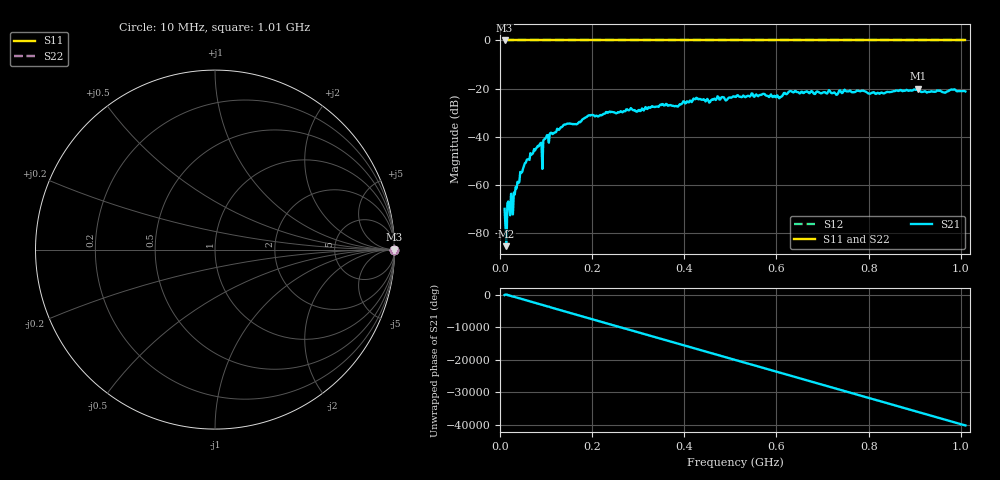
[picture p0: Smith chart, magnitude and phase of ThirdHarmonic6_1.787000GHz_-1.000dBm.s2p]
! 8/16/2025 9:36:53 PM
! C:\ANRITSUVNA\TEMP\TEMP.S2P
! CHANNEL.1
! TR.MEASUREMENT
! RAW.DATA
! RF.CORRECTION.OFF
! AVERAGING.OFF
! IF.BANDWIDTH: 5KHZ
! SWEEPTYPE:  FREQ.SWEEP(Linear)
! Reference Plane Port Info
! PORT:  PORT1  PORT2
! DISTANCE:  0  m  0  m
! TIME:  0  s  0  s
! PHASE.OFFSET:  0  deg.  0  deg.
! LOSS:  0  dB  0  dB
! REF.LOSS:  0  dB  0  dB
! REF.FREQ:  0  Hz  0  Hz
! Power Info
! POWER:  -20  dBm  -20  dBm
! EFF.POWER:  -20  dBm  -20  dBm
! SOURCE.ATTEN:  0  dB  0  dB
! TEST.ATTEN:  0  dB  0  dB
# GHZ S RI R 50.0
! FREQ.GHZ  S11RE  S11IM  S21RE  S21IM  S12RE  S12IM  S22RE  S22IM
!; PortSelection: Port_12
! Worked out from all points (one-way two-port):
!   501 points, 10 MHz to 1.01 GHz, reference 50 ohm
!   highest |S21| = -19.98 dB at 908 MHz (marker M1); lowest = -85.5 dB at 14 MHz (marker M2)
!   lowest |S11| = 0.0 dB at 10 MHz (marker M3)
!   |S11| at or under -10 dB: nowhere
!   |S22| runs from 0.0 to 0.0 dB; largest |S21 - S12| = 1.1
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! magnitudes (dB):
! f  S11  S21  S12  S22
! 10 MHz  0.0  -70.0  0.0  0.0
! 14 MHz  0.0  -85.5  0.0  0.0
! 18 MHz  0.0  -67.0  0.0  0.0
! 20 MHz  0.0  -68.7  0.0  0.0
! 24 MHz  0.0  -63.7  0.0  0.0
! 48 MHz  0.0  -54.7  0.0  0.0
! 70 MHz  0.0  -47.2  0.0  0.0
! 86 MHz  0.0  -43.2  0.0  0.0
! 88 MHz  0.0  -42.7  0.0  0.0
! 96 MHz  0.0  -41.1  0.0  0.0
! 100 MHz  0.0  -40.3  0.0  0.0
! 136 MHz  0.0  -35.7  0.0  0.0
! 178 MHz  0.0  -33.0  0.0  0.0
! 196 MHz  0.0  -31.2  0.0  0.0
! 344 MHz  0.0  -27.6  0.0  0.0
! 510 MHz  0.0  -23.4  0.0  0.0
! 608 MHz  0.0  -23.6  0.0  0.0
! 630 MHz  0.0  -21.0  0.0  0.0
! 678 MHz  0.0  -21.3  0.0  0.0
! 844 MHz  0.0  -21.5  0.0  0.0
! 908 MHz  0.0  -20.0  0.0  0.0
! 1.01 GHz  0.0  -21.2  0.0  0.0
